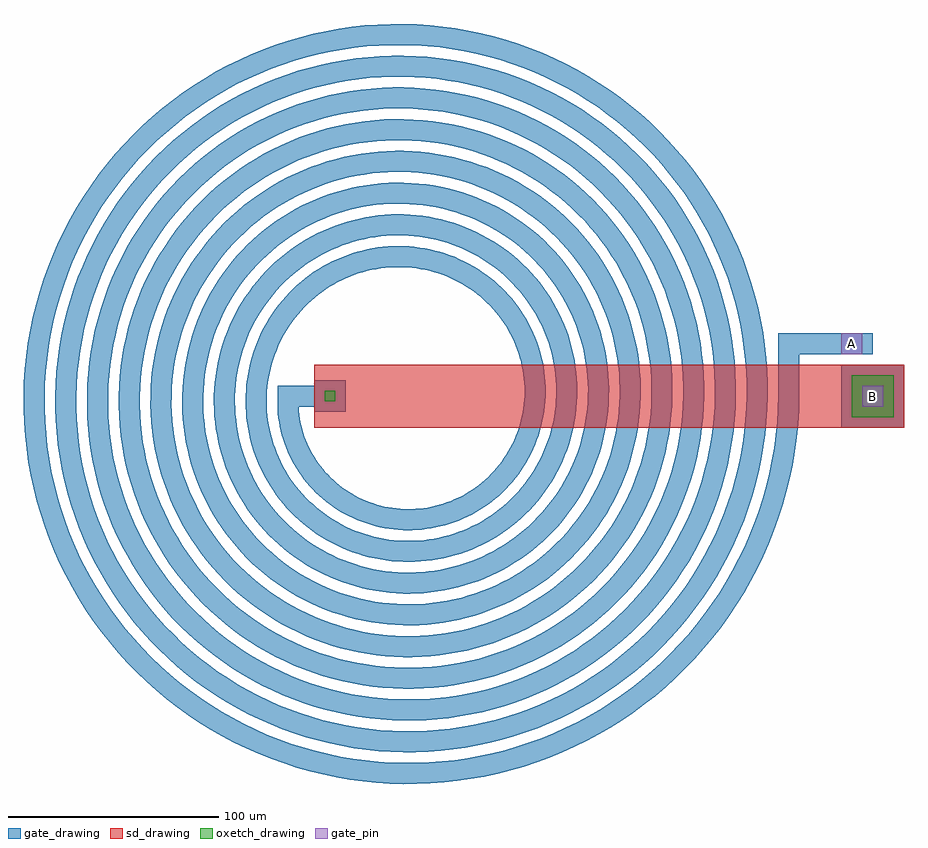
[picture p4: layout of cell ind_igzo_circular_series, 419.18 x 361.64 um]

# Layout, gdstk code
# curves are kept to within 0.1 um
import gdstk
lib = gdstk.Library(unit=1e-6, precision=1e-09)
def R(c, l, rs):  # rectangles x0, y0, x1, y1
    for r in rs: c.add(gdstk.rectangle(r[:2], r[2:], *l))
def P(c, l, *ps):  # polygons
    for p in ps: c.add(gdstk.Polygon(p, *l))
gate_drawing = (2, 0)
gate_pin = (2, 10)
oxetch_drawing = (5, 0)
sd_drawing = (6, 0)

ind_igzo_circular_series = lib.new_cell('ind_igzo_circular_series')
R(ind_igzo_circular_series, gate_drawing, [(208.36,-15,238.36,15), (-42.44,-7.5,-27.44,7.5), (-59.94,-5,-34.94,5)])
P(ind_igzo_circular_series, gate_drawing, [(-0.06,-184.6),(-6.5,-184.4),(-12.94,-183.96),(-19.32,-183.32),(-25.7,-182.46),(-32.06,-181.38),(-38.36,-180.06),(-44.58,-178.52),(-50.76,-176.78),(-56.86,-174.82),(-62.9,-172.66),(-68.88,-170.26),(-74.74,-167.68),(-80.5,-164.9),(-86.18,-161.92),(-91.72,-158.74),(-102.48,-151.82),(-107.68,-148.08),(-117.62,-140.1),(-122.4,-135.82),(-127,-131.4),(-131.44,-126.84),(-139.86,-117.26),(-147.54,-107.12),(-151.12,-101.86),(-154.52,-96.48),(-157.72,-90.98),(-160.72,-85.38),(-166.14,-73.9),(-168.54,-68),(-172.72,-56.04),(-174.48,-49.94),(-176.02,-43.82),(-177.36,-37.64),(-178.5,-31.4),(-179.4,-25.14),(-180.08,-18.86),(-180.56,-12.56),(-180.8,-6.24),(-180.82,0.08),(-180.62,6.38),(-180.2,12.68),(-179.56,18.94),(-178.72,25.18),(-177.66,31.4),(-176.36,37.58),(-174.86,43.68),(-173.14,49.72),(-171.24,55.72),(-166.78,67.46),(-164.24,73.2),(-161.5,78.86),(-158.58,84.4),(-155.48,89.84),(-148.68,100.38),(-145.02,105.46),(-141.2,110.4),(-137.18,115.22),(-128.7,124.38),(-119.6,132.92),(-114.82,136.96),(-104.9,144.48),(-99.74,148),(-94.46,151.32),(-89.1,154.44),(-78.02,160.14),(-72.36,162.68),(-66.62,165.04),(-54.88,169.12),(-42.9,172.36),(-36.86,173.68),(-30.74,174.78),(-24.64,175.66),(-18.46,176.34),(-12.3,176.8),(-6.1,177.02),(6.24,176.86),(12.4,176.44),(24.66,174.98),(30.74,173.94),(36.78,172.68),(42.76,171.2),(48.68,169.52),(54.56,167.64),(60.34,165.56),(71.66,160.78),(77.2,158.12),(87.96,152.2),(93.18,148.96),(98.26,145.54),(103.24,141.96),(108.08,138.22),(117.34,130.2),(121.74,125.96),(126,121.6),(130.12,117.08),(134.06,112.4),(137.84,107.6),(141.44,102.68),(148.12,92.48),(151.18,87.2),(156.74,76.38),(159.24,70.82),(161.54,65.18),(163.62,59.48),(165.52,53.72),(167.22,47.88),(168.72,41.98),(171.06,30.1),(172.58,18.08),(173.02,12.02),(173.26,-0.06),(173.08,-6.1),(172.66,-12.14),(172.06,-18.14),(171.24,-24.14),(170.22,-30.08),(168.98,-35.98),(167.54,-41.84),(164.06,-53.36),(162.02,-59.04),(157.34,-70.14),(154.72,-75.54),(151.92,-80.84),(148.94,-86.06),(142.42,-96.16),(135.24,-105.76),(127.4,-114.82),(118.96,-123.3),(114.54,-127.32),(109.98,-131.18),(105.28,-134.86),(95.52,-141.74),(90.46,-144.92),(85.32,-147.9),(80.06,-150.72),(74.7,-153.34),(69.28,-155.8),(63.76,-158.02),(58.18,-160.08),(52.54,-161.94),(41.08,-165.04),(29.44,-167.34),(17.68,-168.82),(11.76,-169.26),(-0.08,-169.5),(-6,-169.3),(-17.76,-168.3),(-29.44,-166.5),(-40.94,-163.88),(-52.22,-160.46),(-57.76,-158.46),(-68.6,-153.9),(-79.1,-148.58),(-89.18,-142.56),(-98.8,-135.86),(-107.92,-128.5),(-112.28,-124.6),(-120.58,-116.34),(-128.28,-107.54),(-135.32,-98.24),(-141.72,-88.46),(-144.64,-83.42),(-147.38,-78.28),(-149.96,-73.06),(-152.34,-67.74),(-156.54,-56.9),(-159.96,-45.8),(-161.38,-40.16),(-162.6,-34.48),(-163.62,-28.78),(-164.44,-23.04),(-165.06,-17.28),(-165.5,-11.5),(-165.7,-5.72),(-165.72,0.08),(-165.54,5.86),(-165.14,11.62),(-163.76,23.08),(-162.78,28.78),(-161.6,34.44),(-160.22,40.02),(-158.62,45.56),(-156.88,51.06),(-154.92,56.46),(-150.44,67.06),(-147.94,72.24),(-145.24,77.32),(-142.4,82.28),(-139.36,87.18),(-136.16,91.94),(-129.28,101.1),(-125.62,105.5),(-121.78,109.76),(-113.72,117.86),(-105.12,125.38),(-100.62,128.9),(-91.3,135.48),(-86.46,138.52),(-81.52,141.38),(-71.4,146.56),(-66.2,148.9),(-60.94,151.02),(-50.22,154.76),(-39.24,157.72),(-28.12,159.9),(-22.5,160.7),(-16.88,161.32),(-11.22,161.72),(0.08,161.94),(11.36,161.38),(16.98,160.8),(28.12,159.06),(33.64,157.9),(39.1,156.54),(44.52,155),(49.88,153.26),(60.38,149.28),(65.52,147),(75.54,141.92),(85.18,136.16),(94.36,129.74),(98.78,126.32),(103.08,122.72),(111.28,115.1),(115.16,111.1),(122.5,102.7),(129.24,93.8),(135.3,84.46),(140.74,74.74),(145.44,64.66),(149.44,54.32),(152.7,43.7),(154.06,38.34),(156.2,27.44),(157.56,16.48),(157.96,10.98),(158.16,5.44),(157.98,-5.6),(157.04,-16.58),(155.34,-27.46),(154.2,-32.86),(152.88,-38.2),(151.36,-43.48),(149.7,-48.72),(147.82,-53.88),(143.54,-64),(138.58,-73.78),(132.96,-83.18),(129.9,-87.72),(126.7,-92.14),(123.32,-96.46),(119.82,-100.66),(116.18,-104.7),(108.48,-112.44),(100.26,-119.6),(91.58,-126.18),(87.06,-129.24),(77.76,-134.82),(68.08,-139.78),(63.14,-142),(58.1,-144.02),(47.86,-147.58),(37.42,-150.38),(26.8,-152.48),(16.1,-153.8),(10.7,-154.2),(-0.08,-154.38),(-5.46,-154.22),(-10.84,-153.84),(-21.52,-152.54),(-32.08,-150.52),(-42.46,-147.74),(-52.58,-144.28),(-62.48,-140.1),(-72,-135.24),(-81.18,-129.76),(-85.6,-126.76),(-89.92,-123.64),(-98.22,-116.94),(-106.02,-109.68),(-109.74,-105.86),(-113.3,-101.9),(-120,-93.64),(-126.1,-84.94),(-131.58,-75.86),(-134.06,-71.2),(-138.54,-61.6),(-142.34,-51.72),(-143.98,-46.7),(-146.74,-36.48),(-148.76,-26.14),(-150.04,-15.68),(-150.6,-5.18),(-150.44,5.34),(-150.08,10.58),(-148.8,21),(-146.82,31.3),(-145.56,36.38),(-144.1,41.42),(-140.72,51.3),(-136.64,60.92),(-131.92,70.24),(-126.54,79.18),(-120.58,87.72),(-114.04,95.8),(-110.56,99.66),(-103.24,107.02),(-95.4,113.82),(-87.14,120.06),(-82.84,122.98),(-78.44,125.72),(-69.42,130.74),(-60.06,135.1),(-50.44,138.8),(-45.52,140.4),(-35.6,143.08),(-25.48,145.04),(-15.3,146.3),(-5.06,146.84),(0.1,146.84),(5.2,146.66),(15.4,145.78),(25.52,144.18),(35.46,141.9),(45.22,138.9),(54.74,135.26),(59.4,133.2),(63.96,130.96),(68.46,128.58),(72.86,126.02),(81.4,120.5),(89.48,114.4),(97.14,107.76),(100.78,104.24),(107.68,96.84),(114.06,89),(119.84,80.72),(125.04,72.08),(129.62,63.12),(133.52,53.86),(136.8,44.36),(139.42,34.66),(141.32,24.82),(142.02,19.88),(142.9,9.9),(143.06,-0.08),(142.9,-5.08),(142.02,-15.02),(140.48,-24.84),(138.22,-34.56),(135.3,-44.06),(131.76,-53.34),(127.56,-62.3),(125.24,-66.68),(120.14,-75.18),(114.48,-83.26),(108.26,-90.94),(104.96,-94.62),(97.98,-101.58),(90.54,-108.04),(82.68,-113.96),(74.46,-119.3),(65.88,-124.06),(56.98,-128.2),(47.86,-131.7),(38.48,-134.58),(28.98,-136.74),(19.34,-138.28),(9.64,-139.12),(4.76,-139.28),(-4.94,-139.12),(-9.8,-138.78),(-19.42,-137.58),(-28.96,-135.72),(-38.28,-133.22),(-47.44,-130.06),(-56.32,-126.28),(-64.92,-121.92),(-73.16,-116.94),(-81.06,-111.42),(-88.52,-105.36),(-92.08,-102.14),(-95.54,-98.82),(-102.08,-91.78),(-108.1,-84.34),(-113.58,-76.5),(-118.5,-68.3),(-122.82,-59.8),(-126.54,-51.02),(-129.62,-42.02),(-130.94,-37.44),(-133.06,-28.2),(-134.54,-18.82),(-135.36,-9.38),(-135.52,0.1),(-135.34,4.84),(-134.5,14.24),(-133.02,23.56),(-130.9,32.74),(-128.12,41.74),(-124.76,50.5),(-120.78,59.02),(-116.22,67.2),(-111.12,75.06),(-108.34,78.84),(-102.48,86.1),(-96.1,92.92),(-89.26,99.28),(-82,105.12),(-74.38,110.46),(-70.44,112.92),(-62.32,117.4),(-53.9,121.3),(-45.26,124.6),(-36.4,127.32),(-27.4,129.38),(-18.28,130.8),(-13.7,131.28),(-4.5,131.74),(4.7,131.58),(13.84,130.76),(18.4,130.12),(27.38,128.36),(36.2,125.96),(44.86,122.96),(53.28,119.38),(61.38,115.24),(69.16,110.54),(72.96,107.96),(80.2,102.5),(87.04,96.54),(93.44,90.1),(99.36,83.26),(104.8,76.02),(109.72,68.44),(114.06,60.54),(117.84,52.36),(121.08,43.96),(123.68,35.36),(124.76,31),(126.44,22.2),(127.52,13.3),(127.96,4.38),(127.8,-4.54),(127.48,-9),(126.38,-17.86),(124.66,-26.6),(122.34,-35.18),(119.42,-43.56),(117.76,-47.68),(114,-55.7),(109.68,-63.46),(104.86,-70.84),(99.52,-77.88),(93.72,-84.52),(90.66,-87.68),(84.18,-93.66),(77.36,-99.18),(70.16,-104.2),(62.64,-108.68),(54.82,-112.64),(46.78,-116.04),(42.68,-117.52),(34.34,-120.06),(25.82,-122),(17.24,-123.32),(8.58,-124.06),(-0.1,-124.18),(-8.74,-123.7),(-17.34,-122.64),(-21.6,-121.86),(-30,-119.9),(-38.24,-117.36),(-46.26,-114.26),(-54.04,-110.6),(-57.84,-108.56),(-65.18,-104.12),(-72.18,-99.18),(-75.56,-96.54),(-82,-90.9),(-88,-84.86),(-93.6,-78.4),(-98.68,-71.58),(-103.32,-64.42),(-107.4,-57),(-110.96,-49.3),(-113.98,-41.38),(-116.42,-33.28),(-117.44,-29.18),(-119,-20.88),(-119.58,-16.7),(-120.3,-8.3),(-120.4,0.1),(-119.94,8.5),(-118.9,16.82),(-117.28,25.04),(-115.08,33.1),(-112.32,41),(-109.04,48.66),(-107.18,52.42),(-103.14,59.66),(-98.58,66.62),(-93.56,73.24),(-88.1,79.46),(-82.22,85.32),(-75.96,90.7),(-69.36,95.64),(-65.92,97.94),(-58.86,102.14),(-51.52,105.86),(-43.92,109.04),(-36.2,111.66),(-32.24,112.8),(-24.26,114.6),(-20.22,115.3),(-12.1,116.26),(-3.98,116.64),(4.18,116.48),(12.28,115.74),(20.3,114.42),(28.18,112.56),(35.9,110.18),(43.46,107.24),(50.76,103.8),(54.32,101.88),(61.18,97.72),(67.74,93.08),(73.98,88),(79.82,82.5),(85.26,76.62),(90.24,70.38),(94.8,63.82),(98.88,56.98),(102.46,49.86),(105.54,42.52),(108.1,35),(110.1,27.34),(110.92,23.46),(112.1,15.64),(112.76,7.78),(112.88,3.82),(112.7,-4.06),(111.98,-11.86),(111.42,-15.78),(109.86,-23.46),(107.82,-31.02),(105.22,-38.42),(102.14,-45.6),(100.4,-49.1),(96.6,-55.9),(92.32,-62.42),(87.62,-68.58),(82.48,-74.44),(76.98,-79.88),(71.1,-84.92),(64.9,-89.52),(58.4,-93.7),(51.66,-97.4),(48.18,-99.06),(41.12,-102.04),(33.84,-104.48),(26.42,-106.44),(18.9,-107.86),(11.32,-108.74),(3.7,-109.1),(-3.9,-108.94),(-11.5,-108.22),(-15.26,-107.68),(-22.68,-106.18),(-29.98,-104.18),(-37.14,-101.68),(-44.06,-98.68),(-50.76,-95.22),(-54.02,-93.3),(-57.2,-91.3),(-63.32,-86.96),(-69.12,-82.2),(-74.58,-77.06),(-79.66,-71.56),(-84.32,-65.72),(-86.5,-62.68),(-90.5,-56.42),(-94.06,-49.88),(-97.18,-43.12),(-99.78,-36.2),(-101.9,-29.1),(-103.52,-21.88),(-104.62,-14.56),(-105.22,-7.22),(-105.3,0.12),(-104.88,7.46),(-103.94,14.74),(-102.48,21.9),(-101.58,25.44),(-100.56,28.96),(-98.12,35.86),(-95.24,42.52),(-91.88,49),(-88.1,55.18),(-83.88,61.12),(-79.32,66.7),(-74.32,71.96),(-69.04,76.84),(-63.4,81.34),(-57.48,85.44),(-54.4,87.32),(-48.12,90.74),(-41.6,93.72),(-38.26,95.04),(-31.48,97.32),(-24.6,99.12),(-17.58,100.42),(-10.52,101.24),(-3.44,101.56),(3.68,101.38),(10.7,100.72),(17.68,99.56),(21.12,98.78),(27.92,96.9),(34.54,94.58),(41,91.78),(47.22,88.56),(53.2,84.9),(58.9,80.86),(64.3,76.4),(66.86,74.06),(71.76,69.1),(76.26,63.82),(80.38,58.24),(82.3,55.36),(85.82,49.4),(88.88,43.22),(91.54,36.86),(93.74,30.32),(95.46,23.66),(96.14,20.28),(97.14,13.52),(97.7,6.7),(97.76,-0.12),(97.62,-3.54),(96.96,-10.32),(95.84,-17.04),(94.26,-23.64),(92.22,-30.08),(91.04,-33.28),(88.34,-39.48),(85.22,-45.46),(81.7,-51.2),(77.78,-56.7),(73.5,-61.86),(68.92,-66.72),(63.96,-71.24),(58.72,-75.4),(53.26,-79.18),(47.5,-82.54),(41.54,-85.52),(35.44,-88.04),(32.3,-89.14),(25.96,-91.02),(19.52,-92.44),(13,-93.4),(6.42,-93.94),(-0.12,-93.98),(-6.68,-93.58),(-13.16,-92.72),(-16.38,-92.12),(-22.72,-90.58),(-28.94,-88.62),(-31.98,-87.48),(-37.94,-84.88),(-40.84,-83.44),(-46.48,-80.22),(-51.86,-76.64),(-56.98,-72.72),(-61.82,-68.44),(-66.3,-63.86),(-68.44,-61.44),(-72.42,-56.4),(-76.04,-51.12),(-79.28,-45.62),(-82.12,-39.88),(-84.54,-34),(-86.56,-27.96),(-88.12,-21.84),(-89.26,-15.58),(-89.96,-9.32),(-90.24,-3.02),(-90.06,3.3),(-89.44,9.54),(-88.98,12.64),(-87.72,18.8),(-86.92,21.84),(-85.04,27.78),(-82.72,33.58),(-80.04,39.2),(-76.96,44.6),(-73.52,49.74),(-69.72,54.68),(-65.62,59.3),(-61.2,63.6),(-56.52,67.58),(-51.58,71.22),(-46.36,74.52),(-41,77.42),(-32.58,81.04),(-26.8,82.96),(-20.9,84.46),(-17.94,85.06),(-11.94,85.92),(-5.9,86.4),(-2.86,86.46),(3.16,86.3),(9.16,85.7),(15.06,84.68),(20.92,83.26),(26.6,81.42),(32.16,79.22),(34.9,77.96),(40.16,75.2),(45.22,72.08),(50.02,68.62),(54.6,64.82),(58.86,60.74),(60.88,58.6),(64.72,54.08),(68.16,49.36),(71.32,44.38),(74.08,39.22),(76.48,33.9),(77.56,31.16),(79.38,25.62),(80.82,19.96),(81.82,14.3),(82.22,11.42),(82.64,5.6),(82.66,-0.14),(82.28,-5.9),(81.94,-8.78),(80.96,-14.44),(79.6,-20),(77.84,-25.46),(75.72,-30.76),(73.24,-35.9),(70.42,-40.82),(67.26,-45.54),(63.78,-50.02),(60.02,-54.24),(53.84,-60.04),(49.42,-63.5),(44.76,-66.66),(39.92,-69.5),(34.92,-71.94),(27.12,-74.98),(21.78,-76.5),(16.32,-77.68),(10.86,-78.48),(5.36,-78.86),(-0.18,-78.88),(-5.64,-78.52),(-11.1,-77.74),(-16.44,-76.64),(-21.72,-75.14),(-24.3,-74.24),(-31.82,-71.08),(-36.62,-68.54),(-41.24,-65.66),(-47.72,-60.8),(-51.72,-57.2),(-55.48,-53.32),(-58.9,-49.24),(-62.08,-44.9),(-64.9,-40.36),(-67.44,-35.64),(-70.56,-28.32),(-72.18,-23.3),(-73.48,-18.14),(-74.4,-12.94),(-74.94,-7.7),(-75.14,-2.44),(-74.96,2.78),(-74.42,8),(-73.52,13.12),(-71.5,20.7),(-69.72,25.56),(-67.62,30.3),(-65.2,34.86),(-62.46,39.24),(-59.44,43.4),(-56.12,47.34),(-50.7,52.76),(-44.76,57.58),(-40.52,60.4),(-36.14,62.96),(-29.26,66.16),(-24.52,67.88),(-19.66,69.26),(-12.3,70.7),(-7.3,71.2),(-2.3,71.38),(2.66,71.18),(7.62,70.68),(14.9,69.24),(19.64,67.88),(24.28,66.18),(28.76,64.18),(33.08,61.84),(37.26,59.24),(41.2,56.38),(44.92,53.22),(48.4,49.86),(51.64,46.24),(54.6,42.44),(58.52,36.34),(61.78,29.92),(63.56,25.46),(65,20.94),(66.16,16.3),(66.98,11.62),(67.56,4.54),(67.56,-0.2),(67.22,-4.88),(66.54,-9.56),(65.56,-14.12),(63.48,-20.82),(61.7,-25.14),(59.66,-29.3),(57.3,-33.32),(54.72,-37.14),(50.34,-42.48),(45.46,-47.34),(41.94,-50.26),(38.2,-52.94),(34.36,-55.32),(30.3,-57.46),(24.04,-60.08),(19.74,-61.44),(15.38,-62.5),(10.96,-63.26),(6.5,-63.7),(-0.2,-63.78),(-6.82,-63.14),(-9.04,-62.8),(-13.34,-61.84),(-19.66,-59.86),(-25.74,-57.26),(-31.44,-54.04),(-36.76,-50.24),(-41.66,-45.92),(-46.02,-41.18),(-49.88,-35.98),(-53.16,-30.44),(-55.8,-24.62),(-57.84,-18.56),(-59.24,-12.36),(-59.94,-5.96),(-59.94,1),(-49.94,1),(-49.94,-5.6),(-49.62,-8.98),(-49.04,-12.44),(-48.2,-15.88),(-47.16,-19.26),(-45.1,-24.22),(-43.42,-27.4),(-41.56,-30.46),(-39.46,-33.38),(-37.16,-36.16),(-34.62,-38.8),(-31.96,-41.24),(-29.08,-43.52),(-26.08,-45.6),(-22.9,-47.44),(-19.62,-49.08),(-14.44,-51.12),(-9.06,-52.58),(-3.52,-53.5),(2.08,-53.82),(7.74,-53.56),(13.34,-52.7),(18.86,-51.26),(22.46,-49.98),(26,-48.42),(31.04,-45.64),(35.78,-42.38),(38.8,-39.86),(41.6,-37.18),(45.46,-32.78),(47.76,-29.64),(49.88,-26.3),(52.58,-21.02),(54.72,-15.5),(56.3,-9.72),(57.26,-3.84),(57.6,2.18),(57.46,6.24),(57.06,10.26),(55.92,16.22),(54.16,22.1),(52.62,25.88),(50.84,29.56),(47.68,34.88),(45.24,38.22),(42.6,41.4),(39.7,44.4),(36.64,47.18),(33.36,49.76),(29.88,52.12),(24.36,55.18),(20.52,56.9),(16.56,58.36),(12.46,59.54),(8.3,60.42),(1.98,61.22),(-2.34,61.38),(-6.62,61.24),(-13.02,60.44),(-17.26,59.54),(-21.44,58.36),(-27.52,56.04),(-31.46,54.12),(-35.24,51.92),(-40.64,48.16),(-44.02,45.32),(-47.18,42.24),(-51.56,37.24),(-54.18,33.64),(-56.52,29.86),(-59.56,23.9),(-61.26,19.7),(-62.66,15.44),(-63.72,11.08),(-64.5,6.6),(-65,2.1),(-65.14,-2.44),(-64.78,-9.28),(-64.14,-13.78),(-63.18,-18.28),(-61.9,-22.72),(-60.34,-27.02),(-57.4,-33.32),(-53.8,-39.3),(-51.04,-43.04),(-48.04,-46.64),(-44.8,-50),(-41.28,-53.12),(-37.58,-56.02),(-33.66,-58.66),(-27.46,-62.08),(-23.12,-64),(-18.64,-65.62),(-14.06,-66.92),(-9.38,-67.9),(-2.24,-68.76),(2.56,-68.92),(7.4,-68.74),(12.18,-68.22),(16.96,-67.38),(21.68,-66.18),(26.3,-64.66),(28.56,-63.8),(33.04,-61.76),(37.34,-59.48),(41.52,-56.86),(47.4,-52.4),(51.06,-49.08),(54.48,-45.5),(57.66,-41.7),(60.56,-37.66),(63.18,-33.42),(65.52,-29.02),(68.44,-22.06),(69.96,-17.28),(71.16,-12.4),(72.02,-7.42),(72.54,-2.36),(72.68,2.7),(72.5,7.78),(71.52,15.36),(70.46,20.36),(69.02,25.28),(66.22,32.46),(63.94,37.1),(61.34,41.54),(58.4,45.82),(55.22,49.9),(51.7,53.74),(47.92,57.38),(43.94,60.7),(41.82,62.26),(37.46,65.16),(32.9,67.78),(28.16,70.06),(23.24,72.02),(18.2,73.62),(13.06,74.88),(7.82,75.78),(5.16,76.08),(-0.14,76.42),(-5.5,76.4),(-8.16,76.26),(-13.5,75.66),(-18.78,74.7),(-24,73.36),(-29.1,71.68),(-34.14,69.6),(-38.96,67.2),(-43.66,64.48),(-50.32,59.74),(-54.48,56.2),(-58.38,52.4),(-63.76,46.14),(-66.96,41.66),(-69.86,36.96),(-72.4,32.08),(-74.64,27.02),(-76.5,21.8),(-78,16.44),(-79.52,8.22),(-80.06,2.66),(-80.24,-2.94),(-80,-8.56),(-79.38,-14.14),(-78.36,-19.68),(-76.96,-25.16),(-75.18,-30.52),(-74.14,-33.14),(-70.48,-40.86),(-67.6,-45.76),(-64.38,-50.48),(-60.8,-54.96),(-56.96,-59.18),(-52.8,-63.14),(-48.38,-66.8),(-43.68,-70.16),(-38.74,-73.18),(-30.98,-77.06),(-22.84,-80.12),(-17.22,-81.68),(-11.52,-82.84),(-5.72,-83.62),(0.12,-83.98),(6.02,-83.94),(11.88,-83.48),(17.68,-82.6),(23.48,-81.34),(31.92,-78.68),(37.42,-76.4),(42.74,-73.74),(47.86,-70.74),(52.8,-67.36),(57.48,-63.64),(61.88,-59.6),(66.02,-55.22),(67.98,-52.92),(71.64,-48.18),(74.98,-43.12),(76.5,-40.54),(79.3,-35.16),(81.72,-29.6),(83.76,-23.86),(84.62,-20.96),(86.04,-15.04),(87.04,-9),(87.62,-2.94),(87.78,3.2),(87.52,9.32),(86.82,15.44),(85.7,21.5),(84.14,27.5),(83.22,30.42),(81.04,36.22),(78.46,41.88),(75.5,47.32),(72.14,52.56),(66.44,60),(62.22,64.6),(57.66,68.92),(52.82,72.9),(47.68,76.54),(42.3,79.84),(36.72,82.74),(30.9,85.26),(24.92,87.38),(21.9,88.28),(15.68,89.76),(9.42,90.8),(3.04,91.38),(-3.32,91.56),(-9.72,91.28),(-16.1,90.54),(-22.4,89.36),(-25.54,88.6),(-31.7,86.76),(-34.74,85.68),(-40.72,83.2),(-46.5,80.28),(-52.08,77),(-57.44,73.3),(-60,71.34),(-64.96,67.08),(-69.62,62.5),(-73.92,57.62),(-77.9,52.4),(-81.52,46.92),(-84.74,41.2),(-87.54,35.24),(-89.96,29.1),(-91.94,22.8),(-92.76,19.62),(-94.06,13.1),(-94.92,6.5),(-95.3,-0.12),(-95.32,-3.44),(-95.02,-10.12),(-94.26,-16.74),(-93.02,-23.3),(-91.32,-29.78),(-89.18,-36.16),(-86.6,-42.36),(-83.58,-48.38),(-81.9,-51.3),(-78.26,-57),(-74.22,-62.44),(-69.8,-67.56),(-65.04,-72.4),(-59.92,-76.9),(-54.52,-81.02),(-48.82,-84.78),(-45.88,-86.5),(-39.78,-89.64),(-33.5,-92.36),(-30.28,-93.56),(-23.7,-95.6),(-17.02,-97.18),(-10.22,-98.3),(-3.32,-98.94),(3.58,-99.1),(10.48,-98.78),(17.38,-97.98),(24.22,-96.68),(27.6,-95.86),(34.28,-93.86),(37.56,-92.68),(44.02,-89.98),(50.28,-86.84),(56.3,-83.28),(62.08,-79.26),(67.56,-74.86),(72.74,-70.08),(77.58,-64.96),(82.06,-59.46),(86.16,-53.7),(89.84,-47.64),(93.1,-41.32),(95.9,-34.78),(97.14,-31.44),(99.26,-24.64),(100.9,-17.68),(102.06,-10.62),(102.44,-7.06),(102.86,0.12),(102.76,7.3),(102.18,14.48),(101.7,18.04),(100.34,25.14),(98.52,32.12),(96.18,39),(94.84,42.34),(91.82,48.94),(88.3,55.3),(84.38,61.42),(80,67.28),(75.24,72.8),(70.1,78.02),(67.38,80.48),(61.7,85.12),(55.7,89.36),(49.4,93.16),(42.88,96.54),(36.08,99.46),(29.1,101.88),(21.96,103.84),(18.34,104.62),(11,105.82),(3.62,106.48),(-3.82,106.64),(-11.28,106.3),(-18.7,105.42),(-22.38,104.78),(-29.68,103.12),(-33.28,102.1),(-40.4,99.68),(-47.32,96.78),(-54.02,93.38),(-60.52,89.54),(-66.7,85.22),(-72.62,80.48),(-78.18,75.34),(-80.82,72.62),(-85.8,66.92),(-90.42,60.86),(-94.58,54.5),(-98.3,47.82),(-101.54,40.92),(-104.32,33.8),(-106.6,26.46),(-108.34,18.98),(-109.56,11.42),(-110.26,3.74),(-110.42,-3.98),(-110.3,-7.82),(-109.66,-15.5),(-108.46,-23.18),(-106.74,-30.72),(-104.5,-38.14),(-101.76,-45.42),(-98.48,-52.48),(-96.66,-55.92),(-92.66,-62.62),(-88.2,-69.04),(-83.3,-75.12),(-77.98,-80.88),(-75.16,-83.62),(-69.24,-88.78),(-62.96,-93.54),(-59.7,-95.76),(-52.96,-99.84),(-45.92,-103.44),(-38.68,-106.54),(-34.96,-107.92),(-27.4,-110.26),(-19.64,-112.06),(-11.82,-113.32),(-3.88,-114.02),(4.08,-114.2),(12.06,-113.8),(20,-112.84),(27.86,-111.34),(31.74,-110.38),(39.46,-108.04),(46.94,-105.2),(54.24,-101.82),(61.3,-97.92),(68.08,-93.54),(74.54,-88.68),(77.66,-86.1),(83.6,-80.6),(89.14,-74.66),(94.28,-68.36),(98.96,-61.7),(103.18,-54.74),(106.9,-47.48),(110.1,-39.96),(112.78,-32.22),(113.92,-28.3),(115.78,-20.3),(117.08,-12.2),(117.52,-8.12),(117.96,0.1),(117.82,8.34),(117.14,16.56),(115.84,24.72),(114,32.8),(111.62,40.72),(108.64,48.48),(105.14,56.02),(101.12,63.32),(96.6,70.3),(94.16,73.68),(88.9,80.18),(83.22,86.32),(77.1,92.04),(73.9,94.74),(67.2,99.8),(60.16,104.38),(52.8,108.48),(45.18,112.06),(37.3,115.1),(29.22,117.58),(20.98,119.5),(12.6,120.84),(8.38,121.28),(-0.08,121.74),(-8.62,121.6),(-17.08,120.88),(-25.52,119.54),(-33.84,117.64),(-42.02,115.16),(-46.04,113.68),(-50,112.1),(-57.8,108.48),(-65.32,104.32),(-72.52,99.66),(-79.4,94.48),(-85.92,88.84),(-89.02,85.84),(-94.92,79.54),(-100.38,72.8),(-105.34,65.72),(-109.82,58.3),(-113.78,50.56),(-117.2,42.56),(-120.04,34.32),(-121.22,30.14),(-123.22,21.64),(-124.58,13),(-125.34,4.28),(-125.52,-4.48),(-125.06,-13.24),(-124,-21.96),(-122.32,-30.6),(-120.06,-39.1),(-117.18,-47.46),(-115.54,-51.56),(-111.82,-59.56),(-107.54,-67.3),(-102.7,-74.74),(-97.38,-81.82),(-91.54,-88.54),(-88.46,-91.74),(-81.96,-97.8),(-78.54,-100.68),(-71.44,-106.04),(-63.94,-110.92),(-56.12,-115.26),(-48,-119.06),(-39.62,-122.28),(-31.04,-124.9),(-22.28,-126.92),(-13.4,-128.34),(-8.92,-128.82),(0.08,-129.28),(9.12,-129.12),(18.14,-128.36),(22.62,-127.72),(31.5,-125.98),(40.28,-123.66),(48.86,-120.7),(57.22,-117.14),(65.36,-113),(73.16,-108.32),(76.96,-105.76),(84.26,-100.28),(91.14,-94.26),(97.64,-87.78),(103.66,-80.86),(106.48,-77.26),(111.74,-69.74),(116.48,-61.84),(120.68,-53.62),(122.56,-49.42),(125.86,-40.82),(128.58,-31.96),(130.66,-22.96),(132.1,-13.78),(132.9,-4.56),(133.06,4.74),(132.58,14.02),(132.1,18.64),(130.64,27.84),(128.54,36.94),(125.8,45.86),(122.44,54.62),(118.48,63.08),(113.94,71.3),(108.82,79.18),(103.16,86.66),(96.98,93.76),(90.3,100.44),(83.2,106.64),(75.66,112.3),(71.74,114.94),(63.62,119.82),(55.16,124.12),(46.44,127.84),(41.98,129.46),(32.9,132.22),(23.6,134.38),(14.2,135.86),(4.68,136.66),(-4.86,136.84),(-14.42,136.34),(-19.16,135.84),(-28.64,134.34),(-37.98,132.16),(-47.16,129.36),(-56.14,125.9),(-64.86,121.82),(-69.1,119.56),(-73.3,117.14),(-81.38,111.9),(-89.12,106.06),(-96.4,99.7),(-103.24,92.86),(-109.6,85.52),(-115.44,77.76),(-120.74,69.6),(-125.44,61.1),(-129.56,52.24),(-131.36,47.74),(-134.54,38.5),(-137.06,29.06),(-138.92,19.44),(-140.12,9.7),(-140.62,-0.08),(-140.42,-9.9),(-139.56,-19.72),(-138.02,-29.42),(-135.8,-39.02),(-132.9,-48.44),(-131.2,-53.1),(-127.32,-62.2),(-122.82,-71.02),(-117.7,-79.5),(-112,-87.62),(-108.96,-91.52),(-102.42,-99.02),(-98.98,-102.6),(-91.66,-109.38),(-83.92,-115.64),(-75.74,-121.36),(-67.16,-126.48),(-58.24,-131.02),(-53.68,-133.06),(-49.02,-134.92),(-39.54,-138.18),(-29.84,-140.76),(-19.96,-142.66),(-14.98,-143.36),(-4.96,-144.22),(5.14,-144.38),(10.18,-144.2),(20.22,-143.3),(30.2,-141.72),(40.06,-139.42),(49.74,-136.44),(59.22,-132.8),(63.84,-130.74),(68.4,-128.48),(77.3,-123.54),(81.62,-120.84),(89.94,-115),(97.86,-108.56),(105.3,-101.58),(112.26,-94.1),(118.7,-86.14),(124.56,-77.74),(127.26,-73.4),(132.22,-64.4),(136.56,-55.08),(140.22,-45.48),(143.2,-35.64),(145.52,-25.58),(147.12,-15.38),(147.64,-10.26),(148.16,0.08),(147.96,10.42),(147.6,15.6),(147.04,20.74),(145.42,30.98),(143.06,41.1),(140,51.04),(136.24,60.74),(134.1,65.5),(129.38,74.78),(126.74,79.3),(121.04,88.04),(117.98,92.26),(114.74,96.38),(107.86,104.26),(100.44,111.66),(92.5,118.52),(84.1,124.82),(79.74,127.76),(75.28,130.52),(66.06,135.62),(56.5,140.06),(46.64,143.82),(41.64,145.44),(31.4,148.14),(21.02,150.14),(15.78,150.88),(10.52,151.42),(-0.08,151.94),(-10.7,151.72),(-16,151.36),(-26.52,150.02),(-31.78,149.1),(-42.14,146.68),(-52.32,143.54),(-62.28,139.7),(-71.96,135.16),(-81.3,129.96),(-85.82,127.12),(-94.58,120.94),(-102.92,114.18),(-110.74,106.84),(-118.06,98.96),(-124.8,90.58),(-127.96,86.22),(-133.8,77.16),(-139.02,67.72),(-143.56,57.92),(-147.4,47.82),(-150.54,37.46),(-151.84,32.22),(-152.94,26.9),(-153.88,21.56),(-154.62,16.18),(-155.18,10.78),(-155.72,-0.08),(-155.5,-10.94),(-154.52,-21.8),(-152.8,-32.56),(-150.32,-43.16),(-147.1,-53.62),(-143.14,-63.82),(-140.92,-68.82),(-135.92,-78.54),(-130.24,-87.92),(-127.16,-92.48),(-123.92,-96.9),(-116.98,-105.42),(-109.46,-113.46),(-101.4,-120.94),(-92.8,-127.86),(-83.74,-134.16),(-74.26,-139.82),(-64.4,-144.82),(-54.2,-149.1),(-43.7,-152.7),(-38.38,-154.2),(-27.56,-156.66),(-22.08,-157.62),(-16.56,-158.38),(-11.04,-158.94),(0.08,-159.5),(11.2,-159.26),(22.32,-158.26),(33.34,-156.48),(44.2,-153.94),(54.9,-150.64),(65.36,-146.6),(75.5,-141.82),(85.3,-136.36),(94.7,-130.22),(99.24,-126.9),(107.94,-119.8),(116.18,-112.08),(123.84,-103.82),(130.9,-95.02),(134.22,-90.44),(140.34,-80.94),(145.8,-71.02),(150.56,-60.74),(152.66,-55.48),(156.32,-44.76),(159.22,-33.76),(161.36,-22.62),(162.14,-16.98),(162.7,-11.3),(163.26,0.06),(163.24,5.78),(162.62,17.16),(162,22.84),(161.18,28.5),(160.18,34.12),(158.98,39.7),(157.58,45.24),(155.96,50.76),(152.22,61.58),(147.7,72.1),(142.46,82.32),(139.56,87.3),(133.28,96.92),(129.88,101.56),(126.3,106.08),(122.6,110.48),(118.72,114.76),(110.54,122.88),(101.8,130.42),(97.24,133.96),(92.54,137.34),(87.74,140.56),(82.84,143.6),(72.68,149.2),(62.16,154.06),(56.78,156.2),(45.8,159.96),(34.56,162.92),(23.14,165.1),(11.56,166.48),(5.76,166.86),(-0.06,167.04),(-5.9,167.02),(-11.74,166.8),(-17.54,166.38),(-23.36,165.74),(-29.14,164.9),(-34.9,163.88),(-40.62,162.64),(-51.92,159.56),(-57.48,157.74),(-62.98,155.72),(-73.78,151.1),(-84.22,145.72),(-94.26,139.64),(-99.14,136.32),(-103.88,132.84),(-113,125.4),(-117.38,121.44),(-121.58,117.34),(-129.62,108.66),(-137.02,99.46),(-140.48,94.66),(-143.76,89.76),(-149.82,79.6),(-155.16,69),(-157.54,63.58),(-159.74,58.06),(-161.76,52.48),(-163.58,46.84),(-166.6,35.34),(-167.82,29.52),(-168.84,23.66),(-169.64,17.78),(-170.24,11.84),(-170.82,-0.08),(-170.8,-6.04),(-170.56,-12),(-169.48,-23.9),(-168.62,-29.8),(-167.56,-35.68),(-166.3,-41.54),(-164.84,-47.34),(-163.16,-53.08),(-161.28,-58.78),(-159.22,-64.4),(-156.94,-69.94),(-154.48,-75.44),(-151.84,-80.82),(-149,-86.1),(-145.96,-91.28),(-142.76,-96.38),(-139.38,-101.36),(-132.1,-110.94),(-124.16,-120),(-119.96,-124.32),(-111.1,-132.5),(-101.68,-140.08),(-91.76,-146.96),(-81.34,-153.16),(-76.02,-155.98),(-70.54,-158.6),(-65,-161.06),(-59.36,-163.3),(-47.88,-167.22),(-36.12,-170.3),(-30.18,-171.54),(-24.18,-172.58),(-18.16,-173.4),(-12.1,-174),(0.06,-174.6),(12.26,-174.32),(18.34,-173.88),(24.42,-173.22),(30.46,-172.34),(36.46,-171.26),(42.44,-169.96),(48.38,-168.46),(60.08,-164.84),(65.8,-162.72),(77.06,-157.88),(82.58,-155.16),(87.98,-152.26),(93.3,-149.16),(98.48,-145.9),(103.58,-142.44),(108.54,-138.8),(118.06,-131.02),(122.62,-126.88),(127.02,-122.58),(135.4,-113.52),(139.34,-108.78),(143.12,-103.9),(146.74,-98.88),(150.16,-93.76),(153.42,-88.5),(156.48,-83.14),(159.38,-77.64),(162.06,-72.08),(164.54,-66.4),(166.84,-60.64),(168.94,-54.82),(170.84,-48.92),(172.52,-42.94),(175.26,-30.82),(176.32,-24.72),(177.16,-18.56),(177.78,-12.36),(178.18,-6.16),(178.36,0.08),(178.36,30),(223.36,30),(223.36,20),(188.36,20),(188.36,-0.06),(188.18,-6.64),(187.74,-13.2),(187.08,-19.72),(186.2,-26.24),(185.1,-32.7),(182.2,-45.48),(178.42,-58.04),(176.2,-64.2),(173.78,-70.26),(171.14,-76.28),(168.3,-82.16),(162.02,-93.62),(154.94,-104.58),(151.12,-109.9),(147.14,-115.06),(142.96,-120.04),(138.64,-124.92),(134.14,-129.62),(129.46,-134.16),(124.66,-138.54),(119.68,-142.74),(114.6,-146.76),(109.34,-150.6),(103.96,-154.26),(98.48,-157.72),(92.86,-160.98),(87.16,-164.04),(81.34,-166.92),(75.44,-169.58),(69.44,-172.04),(63.36,-174.28),(57.22,-176.3),(51,-178.1),(38.42,-181.06),(32.06,-182.22),(25.66,-183.14),(19.26,-183.84),(12.82,-184.32),(6.4,-184.56)])
R(ind_igzo_circular_series, gate_pin, [(218.36,-5,228.36,5), (208.36,20,218.36,30)])
R(ind_igzo_circular_series, oxetch_drawing, [(213.36,-10,233.36,10), (-37.44,-2.5,-32.44,2.5)])
R(ind_igzo_circular_series, sd_drawing, [(-42.44,-15,238.36,15)])
ind_igzo_circular_series.add(gdstk.Label('A', (213.36,25), layer=2, texttype=10))
ind_igzo_circular_series.add(gdstk.Label('B', (223.36,0), layer=2, texttype=10))
ind_igzo_circular_series.add(gdstk.Label('ind_igzo 20.59nH / 313.9Ohm @ 100MHz / Q 0.04', (0,-209.6), layer=63, texttype=0))

lib.write_gds('ind_igzo_circular_series.gds')
